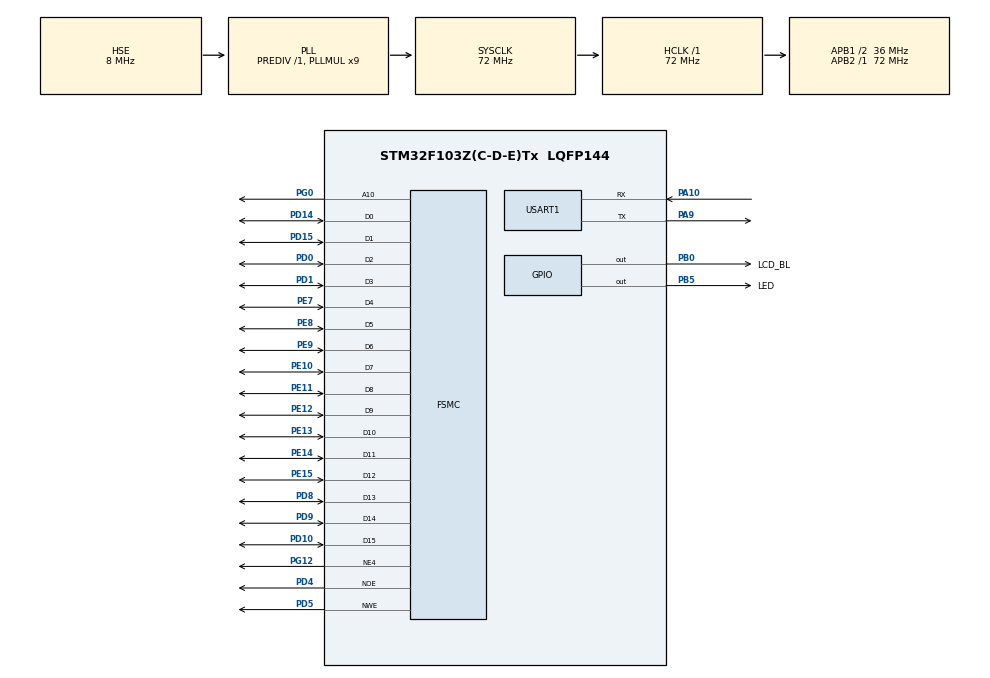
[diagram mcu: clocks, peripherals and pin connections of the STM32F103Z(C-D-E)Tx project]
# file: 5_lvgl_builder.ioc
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FSMC.AddressSetupTime1=2
FSMC.BusTurnAroundDuration1=15
FSMC.DataSetupTime1=5
FSMC.ExtendedAddressSetupTime1=1
FSMC.ExtendedBusTurnAroundDuration1=15
FSMC.ExtendedDataSetupTime1=5
FSMC.ExtendedMode1=FSMC_EXTENDED_MODE_ENABLE
Mcu.Family=STM32F1
Mcu.Name=STM32F103Z(C-D-E)Tx
Mcu.Package=LQFP144
NVIC.PriorityGroup=NVIC_PRIORITYGROUP_4
NVIC.TIM6_IRQn=true\:2\:0\:true\:false\:true\:true\:true\:true
OSC_IN.Mode=HSE-External-Oscillator
OSC_IN.Signal=RCC_OSC_IN
OSC_OUT.Mode=HSE-External-Oscillator
OSC_OUT.Signal=RCC_OSC_OUT
PA10.Mode=Asynchronous
PA10.Signal=USART1_RX
PA13.Mode=Serial_Wire
PA13.Signal=SYS_JTMS-SWDIO
PA14.Mode=Serial_Wire
PA14.Signal=SYS_JTCK-SWCLK
PA9.Mode=Asynchronous
PA9.Signal=USART1_TX
PB0.GPIO_Label=LCD_BL
PB0.PinState=GPIO_PIN_SET
PB0.Signal=GPIO_Output
PB5.GPIO_Label=LED
PB5.Signal=GPIO_Output
PD0.Signal=FSMC_D2_DA2
PD1.Signal=FSMC_D3_DA3
PD10.Signal=FSMC_D15_DA15
PD14.Signal=FSMC_D0_DA0
PD15.Signal=FSMC_D1_DA1
PD4.Signal=FSMC_NOE
PD5.Signal=FSMC_NWE
PD8.Signal=FSMC_D13_DA13
PD9.Signal=FSMC_D14_DA14
PE10.Signal=FSMC_D7_DA7
PE11.Signal=FSMC_D8_DA8
PE12.Signal=FSMC_D9_DA9
PE13.Signal=FSMC_D10_DA10
PE14.Signal=FSMC_D11_DA11
PE15.Signal=FSMC_D12_DA12
PE7.Signal=FSMC_D4_DA4
PE8.Signal=FSMC_D5_DA5
PE9.Signal=FSMC_D6_DA6
PG0.Signal=FSMC_A10
PG12.Mode=NorPsramChipSelect4_1
PG12.Signal=FSMC_NE4
ProjectManager.HeapSize=0x400
ProjectManager.StackSize=0x800
ProjectManager.TargetToolchain=Makefile
RCC.AHBFreq_Value=72000000
RCC.APB1CLKDivider=RCC_HCLK_DIV2
RCC.APB1Freq_Value=36000000
RCC.APB1TimFreq_Value=72000000
RCC.APB2Freq_Value=72000000
RCC.APB2TimFreq_Value=72000000
RCC.HCLKFreq_Value=72000000
RCC.PLLMUL=RCC_PLL_MUL9
RCC.PLLSourceVirtual=RCC_PLLSOURCE_HSE
RCC.SYSCLKFreq_VALUE=72000000
RCC.SYSCLKSource=RCC_SYSCLKSOURCE_PLLCLK
RCC.USBFreq_Value=72000000
SH.FSMC_A10.0=FSMC_A10,A10_1
SH.FSMC_D0_DA0.0=FSMC_D0,16b-d1
SH.FSMC_D10_DA10.0=FSMC_D10,16b-d1
SH.FSMC_D11_DA11.0=FSMC_D11,16b-d1
SH.FSMC_D12_DA12.0=FSMC_D12,16b-d1
SH.FSMC_D13_DA13.0=FSMC_D13,16b-d1
SH.FSMC_D14_DA14.0=FSMC_D14,16b-d1
SH.FSMC_D15_DA15.0=FSMC_D15,16b-d1
SH.FSMC_D1_DA1.0=FSMC_D1,16b-d1
SH.FSMC_D2_DA2.0=FSMC_D2,16b-d1
SH.FSMC_D3_DA3.0=FSMC_D3,16b-d1
SH.FSMC_D4_DA4.0=FSMC_D4,16b-d1
SH.FSMC_D5_DA5.0=FSMC_D5,16b-d1
SH.FSMC_D6_DA6.0=FSMC_D6,16b-d1
SH.FSMC_D7_DA7.0=FSMC_D7,16b-d1
SH.FSMC_D8_DA8.0=FSMC_D8,16b-d1
SH.FSMC_D9_DA9.0=FSMC_D9,16b-d1
SH.FSMC_NOE.0=FSMC_NOE,Lcd1
SH.FSMC_NWE.0=FSMC_NWE,Lcd1
TIM6.AutoReloadPreload=TIM_AUTORELOAD_PRELOAD_ENABLE
TIM6.Period=1000-1
TIM6.Prescaler=72-1
USART1.VirtualMode=VM_ASYNC
VP_TIM6_VS_ClockSourceINT.Mode=Enable_Timer
board=custom

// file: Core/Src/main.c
/* USER CODE BEGIN Header */
/**
  ******************************************************************************
  * @file           : main.c
  * @brief          : Main program body
  ******************************************************************************
  * @attention
  *
  * Copyright (c) 2025 STMicroelectronics.
  * All rights reserved.
  *
  * This software is licensed under terms that can be found in the LICENSE file
  * in the root directory of this software component.
  * If no LICENSE file comes with this software, it is provided AS-IS.
  *
  ******************************************************************************
  */
/* USER CODE END Header */
#include "main.h"
#include "tim.h"
#include "usart.h"
#include "gpio.h"
#include "fsmc.h"

/* USER CODE BEGIN Includes */
#include <stdio.h>
#include "lcd.h"
#include <lvgl.h>
#include <lv_port_disp.h>
#include "lvgl_example.h"
/* USER CODE END Includes */

void SystemClock_Config(void);

/* USER CODE BEGIN 0 */
extern lcd_params_t lcd_params;
/* USER CODE END 0 */

int main(void)
{

  /* MCU Configuration--------------------------------------------------------*/

  /* Reset of all peripherals, Initializes the Flash interface and the Systick. */
  HAL_Init();

  /* Configure the system clock */
  SystemClock_Config();

  /* Initialize all configured peripherals */
  MX_GPIO_Init();
  MX_USART1_UART_Init();
  MX_FSMC_Init();
  MX_TIM6_Init();
  /* USER CODE BEGIN 2 */
  HAL_TIM_Base_Start_IT(&htim6);
  lcd_read_id();
  printf("lcd is: 0x%02x\r\n", lcd_params.lcd_id);

  HAL_Delay(200);

  lcd_init();

  lcd_clear(RED);
  HAL_Delay(1000);

  lv_init();
  lv_port_disp_init();
  //lv_example_get_started_1();
  lv_example_gui_builder();

  /* USER CODE END 2 */

  /* Infinite loop */
  while (1)
  {

    /* USER CODE BEGIN 3 */

    lv_task_handler();

    HAL_Delay(5);
  }
  /* USER CODE END 3 */
}

void SystemClock_Config(void)
{
  RCC_OscInitTypeDef RCC_OscInitStruct = {0};
  RCC_ClkInitTypeDef RCC_ClkInitStruct = {0};

  /** Initializes the RCC Oscillators according to the specified parameters
  * in the RCC_OscInitTypeDef structure.
  */
  RCC_OscInitStruct.OscillatorType = RCC_OSCILLATORTYPE_HSE;
  RCC_OscInitStruct.HSEState = RCC_HSE_ON;
  RCC_OscInitStruct.HSEPredivValue = RCC_HSE_PREDIV_DIV1;
  RCC_OscInitStruct.HSIState = RCC_HSI_ON;
  RCC_OscInitStruct.PLL.PLLState = RCC_PLL_ON;
  RCC_OscInitStruct.PLL.PLLSource = RCC_PLLSOURCE_HSE;
  RCC_OscInitStruct.PLL.PLLMUL = RCC_PLL_MUL9;
  if (HAL_RCC_OscConfig(&RCC_OscInitStruct) != HAL_OK)
  {
    Error_Handler();
  }

  /** Initializes the CPU, AHB and APB buses clocks
  */
  RCC_ClkInitStruct.ClockType = RCC_CLOCKTYPE_HCLK|RCC_CLOCKTYPE_SYSCLK
                              |RCC_CLOCKTYPE_PCLK1|RCC_CLOCKTYPE_PCLK2;
  RCC_ClkInitStruct.SYSCLKSource = RCC_SYSCLKSOURCE_PLLCLK;
  RCC_ClkInitStruct.AHBCLKDivider = RCC_SYSCLK_DIV1;
  RCC_ClkInitStruct.APB1CLKDivider = RCC_HCLK_DIV2;
  RCC_ClkInitStruct.APB2CLKDivider = RCC_HCLK_DIV1;

  if (HAL_RCC_ClockConfig(&RCC_ClkInitStruct, FLASH_LATENCY_2) != HAL_OK)
  {
    Error_Handler();
  }
}

void Error_Handler(void)
{
  __disable_irq();
  while (1)
  {
  }
}
